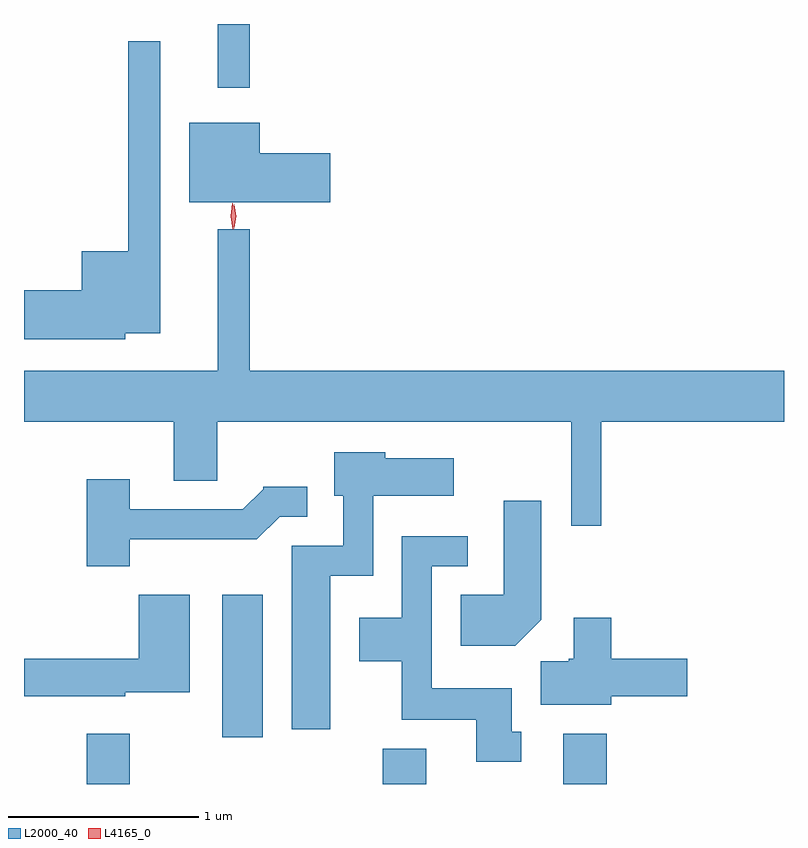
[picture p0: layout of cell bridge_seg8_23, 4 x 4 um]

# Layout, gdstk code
import gdstk
lib = gdstk.Library(unit=1e-6, precision=1e-09)
def R(c, l, rs):  # rectangles x0, y0, x1, y1
    for r in rs: c.add(gdstk.rectangle(r[:2], r[2:], *l))
def P(c, l, *ps):  # polygons
    for p in ps: c.add(gdstk.Polygon(p, *l))
L2000_40 = (2000, 40)
L4165_0 = (4165, 0)

bridge_seg8_23 = lib.new_cell('bridge_seg8_23')
R(bridge_seg8_23, L2000_40, [(1724.551,1934.409,1724.779,1934.674), (1726.111,1934.409,1726.339,1934.594), (1727.061,1934.409,1727.289,1934.674), (1725.266,1934.656,1725.479,1935.404), (1725.241,1938.073,1725.409,1938.409)])
P(bridge_seg8_23, L2000_40, [(1724.754,1936.781),(1724.939,1936.781),(1724.939,1938.318),(1724.771,1938.318),(1724.771,1937.214),(1724.526,1937.214),(1724.526,1937.009),(1724.222,1937.009),(1724.222,1936.751),(1724.754,1936.751)],
  [(1725.834,1937.729),(1725.464,1937.729),(1725.464,1937.889),(1725.091,1937.889),(1725.091,1937.471),(1725.834,1937.471)],
  [(1727.259,1936.316),(1728.222,1936.316),(1728.222,1936.584),(1725.409,1936.584),(1725.409,1937.328),(1725.241,1937.328),(1725.241,1936.584),(1724.222,1936.584),(1724.222,1936.316),(1725.011,1936.316),(1725.011,1936.006),(1725.239,1936.006),(1725.239,1936.316),(1727.101,1936.316),(1727.101,1935.768),(1727.259,1935.768)],
  [(1725.834,1935.506),(1726.059,1935.506),(1726.059,1935.926),(1726.484,1935.926),(1726.484,1936.124),(1726.124,1936.124),(1726.124,1936.154),(1725.856,1936.154),(1725.856,1935.926),(1725.901,1935.926),(1725.901,1935.664),(1725.631,1935.664),(1725.631,1934.696),(1725.834,1934.696)],
  [(1724.779,1935.696),(1725.447,1935.696),(1725.567,1935.816),(1725.713,1935.816),(1725.713,1935.974),(1725.48,1935.974),(1725.48,1935.961),(1725.374,1935.854),(1724.779,1935.854),(1724.779,1936.014),(1724.551,1936.014),(1724.551,1935.556),(1724.779,1935.556)],
  [(1726.944,1935.274),(1726.944,1935.899),(1726.746,1935.899),(1726.746,1935.404),(1726.521,1935.404),(1726.521,1935.136),(1726.807,1935.136)],
  [(1726.838,1934.684),(1726.789,1934.684),(1726.789,1934.914),(1726.369,1934.914),(1726.369,1935.556),(1726.558,1935.556),(1726.558,1935.714),(1726.211,1935.714),(1726.211,1935.284),(1725.986,1935.284),(1725.986,1935.056),(1726.211,1935.056),(1726.211,1934.746),(1726.601,1934.746),(1726.601,1934.526),(1726.838,1934.526)],
  [(1724.754,1934.891),(1725.094,1934.891),(1725.094,1935.404),(1724.826,1935.404),(1724.826,1935.069),(1724.222,1935.069),(1724.222,1934.871),(1724.754,1934.871)],
  [(1727.314,1934.871),(1727.714,1934.871),(1727.714,1935.069),(1727.314,1935.069),(1727.314,1935.284),(1727.116,1935.284),(1727.116,1935.069),(1727.09,1935.069),(1727.09,1935.054),(1726.941,1935.054),(1726.941,1934.826),(1727.314,1934.826)])
P(bridge_seg8_23, L4165_0, [(1725.321,1937.33),(1725.321,1937.33),(1725.311,1937.398),(1725.319,1937.465),(1725.32,1937.466),(1725.32,1937.465),(1725.33,1937.398),(1725.322,1937.33)],
  [(1725.328,1937.333),(1725.328,1937.333),(1725.318,1937.396),(1725.328,1937.459),(1725.328,1937.46),(1725.329,1937.459),(1725.338,1937.396),(1725.329,1937.333)])

lib.write_gds('bridge_seg8_23.gds')
